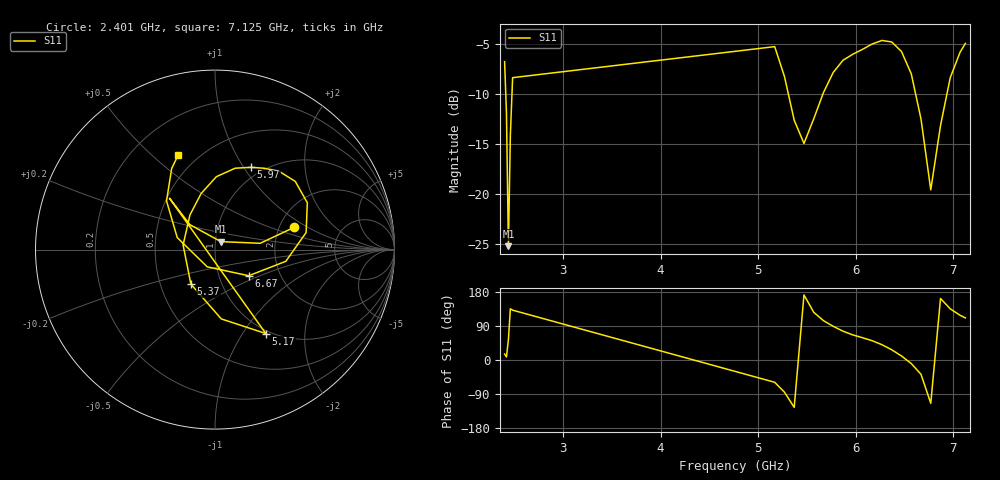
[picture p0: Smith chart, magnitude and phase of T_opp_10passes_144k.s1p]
! Generated by Hertzon (EMerge FEM)
# HZ S RI R 50
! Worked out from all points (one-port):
!   26 points, 2.401 GHz to 7.125 GHz, reference 50 ohm
!   lowest |S11| = -25.2 dB at 2.44 GHz (marker M1), VSWR 1.12, Z = 53.1 + j4.74 ohm
!   |S11| at or under -10 dB: 2.413 GHz to 2.476 GHz (63.37 MHz wide, 2.59 % of centre); 5.311 GHz to 5.664 GHz (353.2 MHz wide, 6.44 % of centre); 6.615 GHz to 6.935 GHz (320.1 MHz wide, 4.72 % of centre)
!   S11 on the Smith chart (normalised r, x): 2.401 GHz: 2.42, +0.77; 5.17 GHz: 0.96, -1.28; 5.37 GHz: 0.71, -0.29; 5.97 GHz: 0.88, +1.08; 6.67 GHz: 1.39, -0.43; 7.125 GHz: 0.39, +0.61
2.401e9  0.4428 0.1248
2.42e9  0.2519 0.0352
2.44e9  0.0326 0.0444
2.46e9  -0.1399 0.139
2.483e9  -0.2537 0.2864
5.17e9  0.2831 -0.4676
5.27e9  0.0351 -0.3863
5.37e9  -0.1345 -0.1921
5.47e9  -0.1777 0.0256
5.57e9  -0.1397 0.1928
5.67e9  -0.077 0.3129
5.77e9  0.00767 0.4063
5.87e9  0.1125 0.4536
5.97e9  0.2015 0.4584
6.07e9  0.2742 0.4532
6.17e9  0.3559 0.437
6.27e9  0.4475 0.3798
6.37e9  0.5143 0.2611
6.47e9  0.5078 0.0952
6.57e9  0.3948 -0.0651
6.67e9  0.1879 -0.1456
6.77e9  -0.0432 -0.096
6.87e9  -0.2103 0.0668
6.97e9  -0.2701 0.2713
7.07e9  -0.2415 0.4514
7.125e9  -0.2039 0.5297
